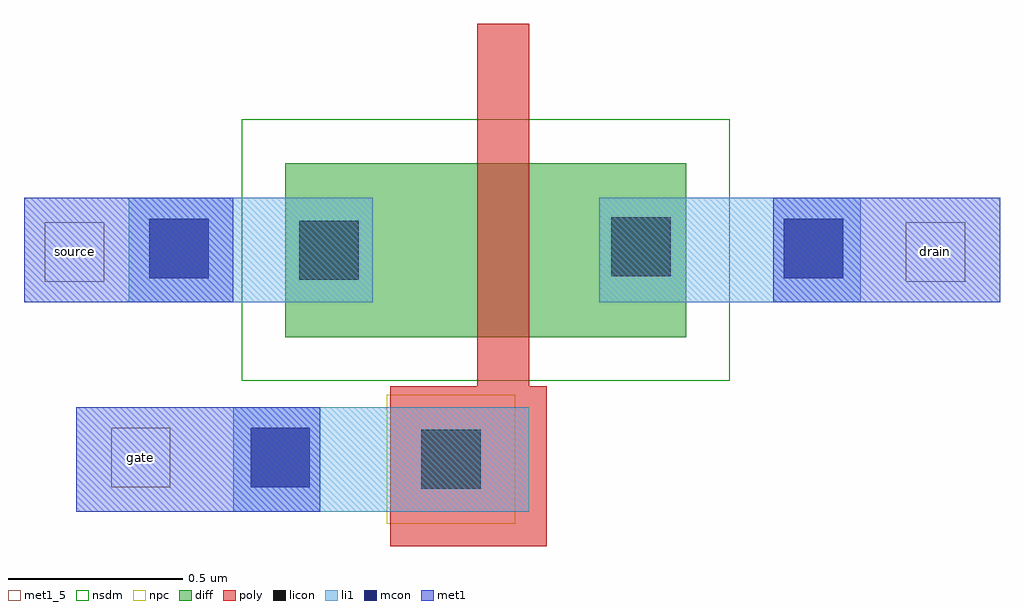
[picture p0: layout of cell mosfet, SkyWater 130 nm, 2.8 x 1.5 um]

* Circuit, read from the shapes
.subckt mosfet drain gate source
XM1 drain gate source VSUBS sky130_fd_pr__nfet_01v8 w=0.5 l=0.15
.ends

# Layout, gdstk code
import gdstk
lib = gdstk.Library(unit=1e-6, precision=1e-09)
def R(c, l, rs):  # rectangles x0, y0, x1, y1
    for r in rs: c.add(gdstk.rectangle(r[:2], r[2:], *l))
diff = (65, 20)
poly = (66, 20)
licon = (66, 44)
li1 = (67, 20)
mcon = (67, 44)
met1_5 = (68, 5)
met1 = (68, 20)
nsdm = (93, 44)
npc = (95, 20)

mosfet = lib.new_cell('mosfet')
R(mosfet, diff, [(-0.6,0.6,0.55,1.1)])
R(mosfet, poly, [(-0.3,0,0.15,0.46), (-0.05,0.46,0.1,1.5)])
R(mosfet, licon, [(-0.21,0.165,-0.04,0.335), (-0.56,0.765,-0.39,0.935), (0.335,0.775,0.505,0.945)])
R(mosfet, li1, [(-0.75,0.1,0.1,0.4), (-1.05,0.7,-0.35,1), (0.3,0.7,1.05,1)])
R(mosfet, mcon, [(-0.7,0.17,-0.53,0.34), (-0.99,0.77,-0.82,0.94), (0.83,0.77,1,0.94)])
R(mosfet, met1_5, [(-1.1,0.17,-0.93,0.34), (-1.29,0.76,-1.12,0.93), (1.18,0.76,1.35,0.93)])
R(mosfet, met1, [(-1.2,0.1,-0.5,0.4), (-1.35,0.7,-0.75,1), (0.8,0.7,1.45,1)])
R(mosfet, nsdm, [(-0.725,0.475,0.675,1.225)])
R(mosfet, npc, [(-0.31,0.065,0.06,0.435)])
mosfet.add(gdstk.Label('drain', (1.265,0.845), layer=68, texttype=5))
mosfet.add(gdstk.Label('source', (-1.205,0.845), layer=68, texttype=5))
mosfet.add(gdstk.Label('gate', (-1.015,0.255), layer=68, texttype=5))

lib.write_gds('mosfet.gds')
